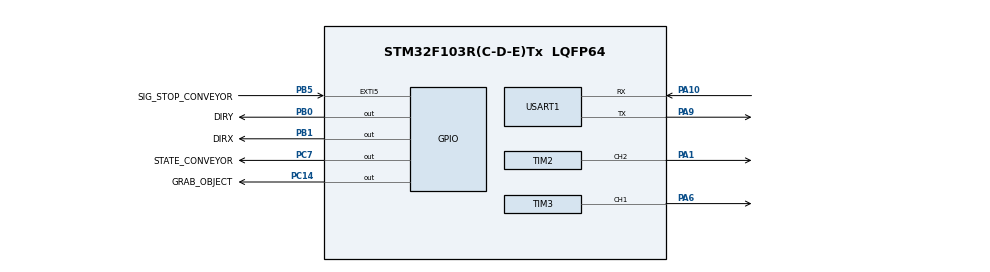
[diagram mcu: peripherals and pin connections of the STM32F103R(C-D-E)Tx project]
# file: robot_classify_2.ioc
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Mcu.Family=STM32F1
Mcu.Name=STM32F103R(C-D-E)Tx
Mcu.Package=LQFP64
NVIC.EXTI9_5_IRQn=true\:1\:0\:true\:false\:true\:true\:true\:true
NVIC.PriorityGroup=NVIC_PRIORITYGROUP_4
NVIC.TIM2_IRQn=true\:0\:0\:false\:false\:true\:true\:true\:true
NVIC.TIM3_IRQn=true\:0\:0\:false\:false\:true\:true\:true\:true
NVIC.USART1_IRQn=true\:1\:0\:true\:false\:true\:true\:true\:true
PA1.Signal=S_TIM2_CH2
PA10.Mode=Asynchronous
PA10.Signal=USART1_RX
PA13.Mode=Serial_Wire
PA13.Signal=SYS_JTMS-SWDIO
PA14.Mode=Serial_Wire
PA14.Signal=SYS_JTCK-SWCLK
PA6.Signal=S_TIM3_CH1
PA9.Mode=Asynchronous
PA9.Signal=USART1_TX
PB0.GPIO_Label=DIRY
PB0.GPIO_PuPd=GPIO_NOPULL
PB0.PinState=GPIO_PIN_RESET
PB0.Signal=GPIO_Output
PB1.GPIO_Label=DIRX
PB1.Signal=GPIO_Output
PB5.GPIO_Label=SIG_STOP_CONVEYOR
PB5.GPIO_ModeDefaultEXTI=GPIO_MODE_IT_FALLING
PB5.GPIO_PuPd=GPIO_PULLUP
PB5.Signal=GPXTI5
PC14-OSC32_IN.GPIO_Label=GRAB_OBJECT
PC14-OSC32_IN.Signal=GPIO_Output
PC7.GPIO_Label=STATE_CONVEYOR
PC7.GPIO_PuPd=GPIO_PULLUP
PC7.PinState=GPIO_PIN_RESET
PC7.Signal=GPIO_Output
PD0-OSC_IN.Mode=HSE-External-Oscillator
PD0-OSC_IN.Signal=RCC_OSC_IN
PD1-OSC_OUT.Mode=HSE-External-Oscillator
PD1-OSC_OUT.Signal=RCC_OSC_OUT
ProjectManager.HeapSize=0x200
ProjectManager.StackSize=0x400
ProjectManager.TargetToolchain=STM32CubeIDE
RCC.APB1Freq_Value=8000000
RCC.APB2Freq_Value=8000000
RCC.PLLSourceVirtual=RCC_PLLSOURCE_HSE
RCC.SYSCLKSource=RCC_SYSCLKSOURCE_HSE
RCC.USBFreq_Value=16000000
SH.S_TIM2_CH2.0=TIM2_CH2,PWM Generation2 CH2
SH.S_TIM3_CH1.0=TIM3_CH1,PWM Generation1 CH1
TIM2.AutoReloadPreload=TIM_AUTORELOAD_PRELOAD_ENABLE
TIM2.Channel-PWM\ Generation2\ CH2=TIM_CHANNEL_2
TIM2.Period=50-1
TIM2.Prescaler=80-1
TIM2.Pulse-PWM\ Generation2\ CH2=20-1
TIM3.AutoReloadPreload=TIM_AUTORELOAD_PRELOAD_ENABLE
TIM3.Channel-PWM\ Generation1\ CH1=TIM_CHANNEL_1
TIM3.Period=200-1
TIM3.Prescaler=80-1
TIM3.Pulse-PWM\ Generation1\ CH1=100
USART1.VirtualMode=VM_ASYNC
VP_TIM2_VS_ClockSourceINT.Mode=Internal
VP_TIM3_VS_ClockSourceINT.Mode=Internal
board=custom

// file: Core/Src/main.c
/* USER CODE BEGIN Header */
/**
 ******************************************************************************
 * @file           : main.c
 * @brief          : Main program body
 ******************************************************************************
 * @attention
 *
 * Copyright (c) 2024 STMicroelectronics.
 * All rights reserved.
 *
 * This software is licensed under terms that can be found in the LICENSE file
 * in the root directory of this software component.
 * If no LICENSE file comes with this software, it is provided AS-IS.
 *
 ******************************************************************************
 */
/* USER CODE END Header */
#include "main.h"

/* USER CODE BEGIN Includes */
#include <stdio.h>
#include <string.h>
#include <stdbool.h>
/* USER CODE END Includes */

/* USER CODE BEGIN PD */
#define CCW 1
#define CW 0
#define X_AXIS TIM_CHANNEL_2
#define Y_AXIS TIM_CHANNEL_1
#define POSITION1 1350
#define POSITION2 2000
#define POSITION3 2350
#define POSITION4 1200
#define WAITING_DROP_P2 2500
#define WAITING_DROP_P3 1700
#define WAITING_VACCUM_P2 40
#define WAITING_VACCUM_P3 70
#define TIME_WAITING_Y 300
#define length_string 15
#define MODE_POSITION_1 0
#define MODE_POSITION_2 1
#define MODE_POSITION_3 2
#define MODE_POSITION_4 3
/* USER CODE END PD */

TIM_HandleTypeDef htim2;
TIM_HandleTypeDef htim3;

UART_HandleTypeDef huart1;

/* USER CODE BEGIN PV */
int current_pulse_x, current_pulse_y, index_array, state_dir;
char *stop = "Stop conveyor--";
//char position1[length_string] = "Move position 1";
char *position2 = "Move position 2";
char *position3 = "Move position 3";
char *position4 = "Move position 4";
char *start = "Start conveyor-";
char rxByte[length_string] = { 0 };
char *grab_object = "Grab object----";
int flag_finish_timer = 0;
bool flag_at_position_y = false, flag_return_home_x = false, flag_start_timer =
false, flag_return_home_y = false, flag_at_position_x = false,
		flag_start_timer_x = false, flag_start_timer_y = false,
		flag_finish_task = true, flag_wait_finish = false, flag_capture_object =
		false, flag_receive_move_robot = false;
int arr_pulse[4] = { POSITION1, POSITION2, POSITION3, POSITION4 };
int pulse_to_grab_object = 560, count_wait_vaccum_object = 0;
int time_waiting_drop[2] = { WAITING_DROP_P2, WAITING_DROP_P3 };
int time_waiting_vaccum[2] = { WAITING_VACCUM_P2, WAITING_VACCUM_P3 };
int time_to_wait_axis_x = 1100, time_to_wait_axis_y = 30;
char *uart_command[100];
char *robot_move_command;
int index_uart_command = 0, index_current_command = 0;
volatile int count_wait_drop_object = 0;

/* USER CODE END PV */

void SystemClock_Config(void);
static void MX_GPIO_Init(void);
static void MX_USART1_UART_Init(void);
static void MX_TIM2_Init(void);
static void MX_TIM3_Init(void);

/* USER CODE BEGIN 0 */
#if defined(__GNUC__)
int _write(int fd, char *ptr, int len) {
	HAL_UART_Transmit(&huart1, (uint8_t*) ptr, len, HAL_MAX_DELAY);
	return len;
}
#elif defined(__ICCARM__)#include "LowLevelIOInterface.h"

size_t __write(int handle,
  const unsigned char * buffer, size_t size) {
  HAL_UART_Transmit( &huart1, (uint8_t * ) buffer, size, UART_Delay);
  return size;
}
#elif defined(__CC_ARM)
int fputc(int ch, FILE * f) {
  HAL_UART_Transmit( &huart1, (uint8_t * ) &ch, 1, UART_Delay);
  return ch;
}
#endif
void HAL_TIM_PeriodElapsedCallback(TIM_HandleTypeDef *htim) {
	if (htim->Instance == TIM2 && flag_start_timer_x) {
		if (!flag_at_position_x) {
			current_pulse_x++;
			if (current_pulse_x >= arr_pulse[index_array]) {
				__HAL_TIM_SET_COMPARE(&htim2, X_AXIS, 0);
				flag_at_position_x = true;
				flag_return_home_x = true;
				state_dir = HAL_GPIO_ReadPin(DIRX_GPIO_Port, DIRX_Pin);
				HAL_GPIO_WritePin(DIRX_GPIO_Port, DIRX_Pin, !state_dir);
			}
		}
		if (flag_return_home_x) {
			if (count_wait_drop_object < time_to_wait_axis_x) {
				count_wait_drop_object++;
			} else if (count_wait_drop_object >= time_to_wait_axis_x) {
				__HAL_TIM_SET_COMPARE(&htim2, X_AXIS, 40);
				current_pulse_x--;
				if (current_pulse_x <= 0) {

					__HAL_TIM_SET_COMPARE(&htim2, X_AXIS, 0);
					flag_return_home_x = false;
					flag_start_timer_x = false;
					current_pulse_x = 0;
					index_current_command++;
					flag_finish_task = true;
					count_wait_drop_object = 0;
					flag_capture_object = false;
					HAL_GPIO_WritePin(STATE_CONVEYOR_GPIO_Port,
					STATE_CONVEYOR_Pin, GPIO_PIN_SET);
					printf("Drop object successfully\n");
				}
			}
		}
	}
	if (htim->Instance == TIM3 && flag_start_timer_y) {
		if (!flag_at_position_y) {
			current_pulse_y++;
			if (current_pulse_y >= pulse_to_grab_object) {
				__HAL_TIM_SET_COMPARE(&htim3, Y_AXIS, 0);
				flag_at_position_y = true;
				flag_return_home_y = true;
				state_dir = HAL_GPIO_ReadPin(DIRY_GPIO_Port, DIRY_Pin);
				HAL_GPIO_WritePin(DIRY_GPIO_Port, DIRY_Pin, !state_dir);
			}
		}
		if (flag_return_home_y) {
			if (count_wait_vaccum_object < time_to_wait_axis_y) {
				count_wait_vaccum_object++;
			} else if (count_wait_vaccum_object >= time_to_wait_axis_y) {
				__HAL_TIM_SET_COMPARE(&htim3, Y_AXIS, 90);
				current_pulse_y--;
				HAL_GPIO_WritePin(GRAB_OBJECT_GPIO_Port, GRAB_OBJECT_Pin,
						GPIO_PIN_RESET);
				if (current_pulse_y <= 0) {
					__HAL_TIM_SET_COMPARE(&htim3, Y_AXIS, 0);
					flag_return_home_y = false;
					current_pulse_y = 0;
					count_wait_vaccum_object = 0;
					flag_start_timer_y = false;
					uart_command[index_uart_command] = robot_move_command;
					index_uart_command++;
					index_current_command++;
					flag_receive_move_robot = false;
					flag_finish_task = true;
					printf("Grab object successfully\n");
				}
			}
		}
	}
}
void HAL_GPIO_EXTI_Callback(uint16_t GPIO_Pin) {
	if (GPIO_Pin == SIG_STOP_CONVEYOR_Pin && flag_capture_object == false
			&& flag_receive_move_robot == true) {
		HAL_Delay(300);
		uart_command[index_uart_command] = grab_object;
		//printf("uart_command: %s\n", uart_command[index_uart_command]);
		index_uart_command++;
		//printf("This is interrupt\n");
		HAL_Delay(600);
		HAL_GPIO_WritePin(STATE_CONVEYOR_GPIO_Port, STATE_CONVEYOR_Pin,
				GPIO_PIN_RESET);
		flag_capture_object = true;
		EXTI->PR = SIG_STOP_CONVEYOR_Pin;
		__HAL_GPIO_EXTI_CLEAR_IT(SIG_STOP_CONVEYOR_Pin);
	}
}
void HAL_UART_RxCpltCallback(UART_HandleTypeDef *huart) {
	if (huart->Instance == USART1) {
		HAL_UART_Receive_IT(&huart1, (uint8_t*) rxByte, length_string);
		printf("Receive %s\n", rxByte);
		if (!strncmp(rxByte, position2, length_string)
				|| !strncmp(rxByte, position3, length_string)) {
			robot_move_command = rxByte;
			flag_receive_move_robot = true;
			return;
		}
		uart_command[index_uart_command] = rxByte;
		index_uart_command++;
	}
}
void handle_command() {
	if (!strncmp(uart_command[index_current_command], stop,
	length_string)) {
		printf("Robot doing: Stop conveyor\n");
		HAL_GPIO_WritePin(STATE_CONVEYOR_GPIO_Port, STATE_CONVEYOR_Pin,
				GPIO_PIN_RESET);
		flag_finish_task = true;
		index_current_command++;
		return;
	} else if (!strncmp(uart_command[index_current_command], grab_object,
	length_string)) {
		printf("Robot doing: Grab object\n");
		flag_at_position_y = false;
		flag_return_home_y = false;
		flag_start_timer_y = true;
		HAL_GPIO_WritePin(STATE_CONVEYOR_GPIO_Port, STATE_CONVEYOR_Pin,
				GPIO_PIN_RESET);
		HAL_GPIO_WritePin(GRAB_OBJECT_GPIO_Port, GRAB_OBJECT_Pin, GPIO_PIN_SET);
		HAL_GPIO_WritePin(DIRY_GPIO_Port, DIRY_Pin, CW);
		flag_finish_task = false;
		HAL_TIM_Base_Start_IT(&htim3);
		HAL_TIM_PWM_Start(&htim3, Y_AXIS);
		__HAL_TIM_SET_COMPARE(&htim3, Y_AXIS, 90);
	} else if (!strncmp(uart_command[index_current_command], start,
	length_string)) {
		printf("Robot doing: Start conveyor\n");
		HAL_GPIO_WritePin(STATE_CONVEYOR_GPIO_Port, STATE_CONVEYOR_Pin,
				GPIO_PIN_SET);
		flag_finish_task = true;
		index_current_command++;
		return;
	} else if (!strncmp(uart_command[index_current_command], position2,
	length_string)) {
		printf("Move position 2\n");
		index_array = MODE_POSITION_1;
		HAL_GPIO_WritePin(DIRX_GPIO_Port, DIRX_Pin, CCW);
		flag_at_position_x = false;
		flag_return_home_x = false;
		flag_start_timer_x = true;
		flag_finish_task = false;
		time_to_wait_axis_x = time_waiting_drop[MODE_POSITION_1];
		time_to_wait_axis_y = time_waiting_vaccum[MODE_POSITION_1];
		HAL_TIM_Base_Start_IT(&htim2);
		HAL_TIM_PWM_Start(&htim2, X_AXIS);
		__HAL_TIM_SET_COMPARE(&htim2, X_AXIS, 40);
	} else if (!strncmp(uart_command[index_current_command], position3,
	length_string)) {
		printf("Move position 3\n");
		index_array = MODE_POSITION_3;
		HAL_GPIO_WritePin(DIRX_GPIO_Port, DIRX_Pin, CCW);
		flag_at_position_x = false;
		flag_return_home_x = false;
		flag_start_timer_x = true;
		flag_finish_task = false;
		time_to_wait_axis_x = time_waiting_drop[MODE_POSITION_2];
		time_to_wait_axis_y = time_waiting_vaccum[MODE_POSITION_2];
		HAL_TIM_Base_Start_IT(&htim2);
		HAL_TIM_PWM_Start(&htim2, X_AXIS);
		__HAL_TIM_SET_COMPARE(&htim2, X_AXIS, 40);
	}

}
void control_robot() {
	if (flag_finish_task) {
		handle_command();
	}
}
/* USER CODE END 0 */

int main(void) {

	/* MCU Configuration--------------------------------------------------------*/

	/* Reset of all peripherals, Initializes the Flash interface and the Systick. */
	HAL_Init();

	/* Configure the system clock */
	SystemClock_Config();

	/* Initialize all configured peripherals */
	MX_GPIO_Init();
	MX_USART1_UART_Init();
	MX_TIM2_Init();
	MX_TIM3_Init();
	/* USER CODE BEGIN 2 */
	HAL_UART_Receive_IT(&huart1, (uint8_t*) rxByte, length_string);

	/* USER CODE END 2 */

	/* Infinite loop */
	while (1) {

		/* USER CODE BEGIN 3 */
		control_robot();
	}
	/* USER CODE END 3 */
}

void SystemClock_Config(void) {
	RCC_OscInitTypeDef RCC_OscInitStruct = { 0 };
	RCC_ClkInitTypeDef RCC_ClkInitStruct = { 0 };

	/** Initializes the RCC Oscillators according to the specified parameters
	 * in the RCC_OscInitTypeDef structure.
	 */
	RCC_OscInitStruct.OscillatorType = RCC_OSCILLATORTYPE_HSE;
	RCC_OscInitStruct.HSEState = RCC_HSE_ON;
	RCC_OscInitStruct.PLL.PLLState = RCC_PLL_NONE;
	if (HAL_RCC_OscConfig(&RCC_OscInitStruct) != HAL_OK) {
		Error_Handler();
	}

	/** Initializes the CPU, AHB and APB buses clocks
	 */
	RCC_ClkInitStruct.ClockType = RCC_CLOCKTYPE_HCLK | RCC_CLOCKTYPE_SYSCLK
			| RCC_CLOCKTYPE_PCLK1 | RCC_CLOCKTYPE_PCLK2;
	RCC_ClkInitStruct.SYSCLKSource = RCC_SYSCLKSOURCE_HSE;
	RCC_ClkInitStruct.AHBCLKDivider = RCC_SYSCLK_DIV1;
	RCC_ClkInitStruct.APB1CLKDivider = RCC_HCLK_DIV1;
	RCC_ClkInitStruct.APB2CLKDivider = RCC_HCLK_DIV1;

	if (HAL_RCC_ClockConfig(&RCC_ClkInitStruct, FLASH_LATENCY_0) != HAL_OK) {
		Error_Handler();
	}
}

static void MX_TIM2_Init(void) {

	TIM_ClockConfigTypeDef sClockSourceConfig = { 0 };
	TIM_MasterConfigTypeDef sMasterConfig = { 0 };
	TIM_OC_InitTypeDef sConfigOC = { 0 };

	htim2.Instance = TIM2;
	htim2.Init.Prescaler = 80 - 1;
	htim2.Init.CounterMode = TIM_COUNTERMODE_UP;
	htim2.Init.Period = 50 - 1;
	htim2.Init.ClockDivision = TIM_CLOCKDIVISION_DIV1;
	htim2.Init.AutoReloadPreload = TIM_AUTORELOAD_PRELOAD_ENABLE;
	if (HAL_TIM_Base_Init(&htim2) != HAL_OK) {
		Error_Handler();
	}
	sClockSourceConfig.ClockSource = TIM_CLOCKSOURCE_INTERNAL;
	if (HAL_TIM_ConfigClockSource(&htim2, &sClockSourceConfig) != HAL_OK) {
		Error_Handler();
	}
	if (HAL_TIM_PWM_Init(&htim2) != HAL_OK) {
		Error_Handler();
	}
	sMasterConfig.MasterOutputTrigger = TIM_TRGO_RESET;
	sMasterConfig.MasterSlaveMode = TIM_MASTERSLAVEMODE_DISABLE;
	if (HAL_TIMEx_MasterConfigSynchronization(&htim2, &sMasterConfig)
			!= HAL_OK) {
		Error_Handler();
	}
	sConfigOC.OCMode = TIM_OCMODE_PWM1;
	sConfigOC.Pulse = 20 - 1;
	sConfigOC.OCPolarity = TIM_OCPOLARITY_HIGH;
	sConfigOC.OCFastMode = TIM_OCFAST_DISABLE;
	if (HAL_TIM_PWM_ConfigChannel(&htim2, &sConfigOC, TIM_CHANNEL_2)
			!= HAL_OK) {
		Error_Handler();
	}
	HAL_TIM_MspPostInit(&htim2);

}

static void MX_TIM3_Init(void) {

	TIM_ClockConfigTypeDef sClockSourceConfig = { 0 };
	TIM_MasterConfigTypeDef sMasterConfig = { 0 };
	TIM_OC_InitTypeDef sConfigOC = { 0 };

	htim3.Instance = TIM3;
	htim3.Init.Prescaler = 80 - 1;
	htim3.Init.CounterMode = TIM_COUNTERMODE_UP;
	htim3.Init.Period = 200 - 1;
	htim3.Init.ClockDivision = TIM_CLOCKDIVISION_DIV1;
	htim3.Init.AutoReloadPreload = TIM_AUTORELOAD_PRELOAD_ENABLE;
	if (HAL_TIM_Base_Init(&htim3) != HAL_OK) {
		Error_Handler();
	}
	sClockSourceConfig.ClockSource = TIM_CLOCKSOURCE_INTERNAL;
	if (HAL_TIM_ConfigClockSource(&htim3, &sClockSourceConfig) != HAL_OK) {
		Error_Handler();
	}
	if (HAL_TIM_PWM_Init(&htim3) != HAL_OK) {
		Error_Handler();
	}
	sMasterConfig.MasterOutputTrigger = TIM_TRGO_RESET;
	sMasterConfig.MasterSlaveMode = TIM_MASTERSLAVEMODE_DISABLE;
	if (HAL_TIMEx_MasterConfigSynchronization(&htim3, &sMasterConfig)
			!= HAL_OK) {
		Error_Handler();
	}
	sConfigOC.OCMode = TIM_OCMODE_PWM1;
	sConfigOC.Pulse = 100;
	sConfigOC.OCPolarity = TIM_OCPOLARITY_HIGH;
	sConfigOC.OCFastMode = TIM_OCFAST_DISABLE;
	if (HAL_TIM_PWM_ConfigChannel(&htim3, &sConfigOC, TIM_CHANNEL_1)
			!= HAL_OK) {
		Error_Handler();
	}
	HAL_TIM_MspPostInit(&htim3);

}

static void MX_USART1_UART_Init(void) {

	huart1.Instance = USART1;
	huart1.Init.BaudRate = 115200;
	huart1.Init.WordLength = UART_WORDLENGTH_8B;
	huart1.Init.StopBits = UART_STOPBITS_1;
	huart1.Init.Parity = UART_PARITY_NONE;
	huart1.Init.Mode = UART_MODE_TX_RX;
	huart1.Init.HwFlowCtl = UART_HWCONTROL_NONE;
	huart1.Init.OverSampling = UART_OVERSAMPLING_16;
	if (HAL_UART_Init(&huart1) != HAL_OK) {
		Error_Handler();
	}

}

static void MX_GPIO_Init(void) {
	GPIO_InitTypeDef GPIO_InitStruct = { 0 };

	/* GPIO Ports Clock Enable */
	__HAL_RCC_GPIOC_CLK_ENABLE();
	__HAL_RCC_GPIOD_CLK_ENABLE();
	__HAL_RCC_GPIOA_CLK_ENABLE();
	__HAL_RCC_GPIOB_CLK_ENABLE();

	/*Configure GPIO pin Output Level */
	HAL_GPIO_WritePin(GPIOC, GRAB_OBJECT_Pin | STATE_CONVEYOR_Pin,
			GPIO_PIN_RESET);

	/*Configure GPIO pin Output Level */
	HAL_GPIO_WritePin(GPIOB, DIRY_Pin | DIRX_Pin, GPIO_PIN_RESET);

	/*Configure GPIO pin : GRAB_OBJECT_Pin */
	GPIO_InitStruct.Pin = GRAB_OBJECT_Pin;
	GPIO_InitStruct.Mode = GPIO_MODE_OUTPUT_PP;
	GPIO_InitStruct.Pull = GPIO_NOPULL;
	GPIO_InitStruct.Speed = GPIO_SPEED_FREQ_LOW;
	HAL_GPIO_Init(GRAB_OBJECT_GPIO_Port, &GPIO_InitStruct);

	/*Configure GPIO pins : DIRY_Pin DIRX_Pin */
	GPIO_InitStruct.Pin = DIRY_Pin | DIRX_Pin;
	GPIO_InitStruct.Mode = GPIO_MODE_OUTPUT_PP;
	GPIO_InitStruct.Pull = GPIO_NOPULL;
	GPIO_InitStruct.Speed = GPIO_SPEED_FREQ_LOW;
	HAL_GPIO_Init(GPIOB, &GPIO_InitStruct);

	/*Configure GPIO pin : STATE_CONVEYOR_Pin */
	GPIO_InitStruct.Pin = STATE_CONVEYOR_Pin;
	GPIO_InitStruct.Mode = GPIO_MODE_OUTPUT_PP;
	GPIO_InitStruct.Pull = GPIO_PULLUP;
	GPIO_InitStruct.Speed = GPIO_SPEED_FREQ_LOW;
	HAL_GPIO_Init(STATE_CONVEYOR_GPIO_Port, &GPIO_InitStruct);

	/*Configure GPIO pin : SIG_STOP_CONVEYOR_Pin */
	GPIO_InitStruct.Pin = SIG_STOP_CONVEYOR_Pin;
	GPIO_InitStruct.Mode = GPIO_MODE_IT_FALLING;
	GPIO_InitStruct.Pull = GPIO_PULLUP;
	HAL_GPIO_Init(SIG_STOP_CONVEYOR_GPIO_Port, &GPIO_InitStruct);

	/* EXTI interrupt init*/
	HAL_NVIC_SetPriority(EXTI9_5_IRQn, 1, 0);
	HAL_NVIC_EnableIRQ(EXTI9_5_IRQn);

}

void Error_Handler(void) {
	__disable_irq();
	while (1) {
	}
}
